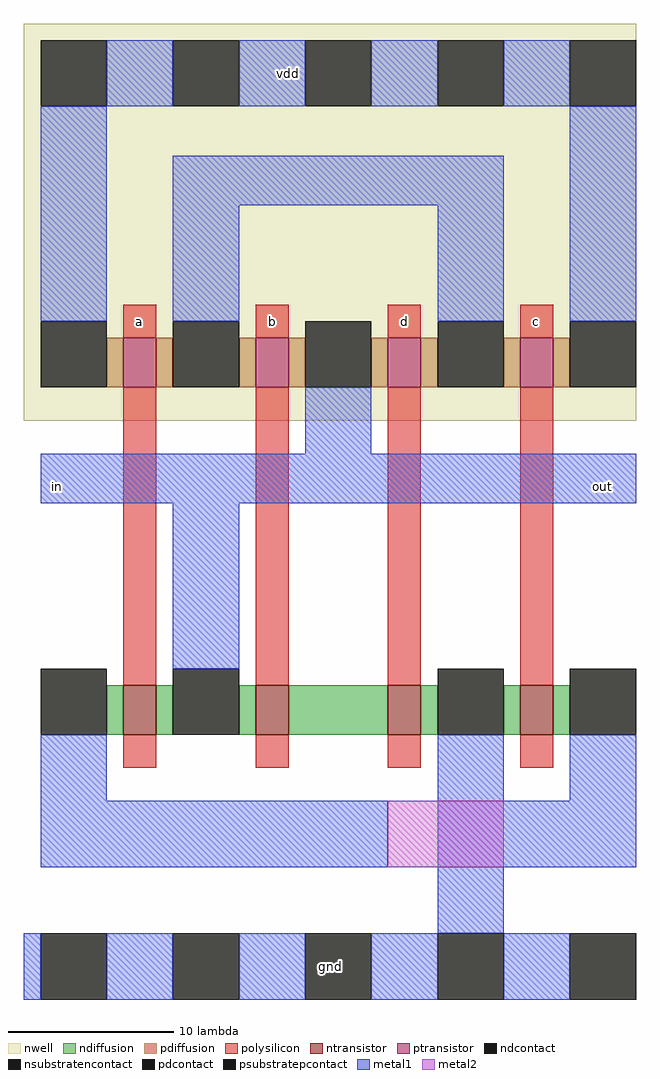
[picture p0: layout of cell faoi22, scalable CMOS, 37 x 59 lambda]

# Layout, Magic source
magic
tech scmos
<< nwell >>
rect -74 3 -37 27
<< polysilicon >>
rect -68 8 -66 10
rect -60 8 -58 10
rect -52 8 -50 10
rect -44 8 -42 10
rect -68 -13 -66 5
rect -60 -13 -58 5
rect -52 -13 -50 5
rect -44 -13 -42 5
rect -68 -18 -66 -16
rect -60 -18 -58 -16
rect -52 -18 -50 -16
rect -44 -18 -42 -16
<< ndiffusion >>
rect -69 -16 -68 -13
rect -66 -16 -65 -13
rect -61 -16 -60 -13
rect -58 -16 -52 -13
rect -50 -16 -49 -13
rect -45 -16 -44 -13
rect -42 -16 -41 -13
<< pdiffusion >>
rect -69 5 -68 8
rect -66 5 -65 8
rect -61 5 -60 8
rect -58 5 -57 8
rect -53 5 -52 8
rect -50 5 -49 8
rect -45 5 -44 8
rect -42 5 -41 8
<< metal1 >>
rect -69 22 -65 26
rect -61 22 -57 26
rect -53 22 -49 26
rect -45 22 -41 26
rect -73 9 -69 22
rect -65 16 -45 19
rect -65 9 -61 16
rect -49 9 -45 16
rect -41 9 -37 22
rect -57 1 -53 5
rect -73 -2 -37 1
rect -65 -12 -61 -2
rect -73 -20 -69 -16
rect -49 -20 -45 -16
rect -41 -20 -37 -16
rect -73 -24 -52 -20
rect -49 -24 -37 -20
rect -49 -28 -45 -24
rect -74 -32 -73 -28
rect -69 -32 -65 -28
rect -61 -32 -57 -28
rect -53 -32 -49 -28
rect -45 -32 -41 -28
<< metal2 >>
rect -52 -24 -45 -20
<< ntransistor >>
rect -68 -16 -66 -13
rect -60 -16 -58 -13
rect -52 -16 -50 -13
rect -44 -16 -42 -13
<< ptransistor >>
rect -68 5 -66 8
rect -60 5 -58 8
rect -52 5 -50 8
rect -44 5 -42 8
<< ndcontact >>
rect -73 -16 -69 -12
rect -65 -16 -61 -12
rect -49 -16 -45 -12
rect -41 -16 -37 -12
<< pdcontact >>
rect -73 5 -69 9
rect -65 5 -61 9
rect -57 5 -53 9
rect -49 5 -45 9
rect -41 5 -37 9
<< psubstratepcontact >>
rect -73 -32 -69 -28
rect -65 -32 -61 -28
rect -57 -32 -53 -28
rect -49 -32 -45 -28
rect -41 -32 -37 -28
<< nsubstratencontact >>
rect -73 22 -69 26
rect -65 22 -61 26
rect -57 22 -53 26
rect -49 22 -45 26
rect -41 22 -37 26
<< labels >>
rlabel metal1 -40 -1 -38 -1 7 out
rlabel metal1 -73 -1 -71 -1 3 in
rlabel metal1 -59 24 -57 24 5 vdd
rlabel polysilicon -68 8 -66 10 1 a
rlabel polysilicon -60 8 -58 10 1 b
rlabel polysilicon -52 8 -50 10 1 d
rlabel polysilicon -44 8 -42 10 1 c
rlabel metal1 -74 -32 -37 -28 5 gnd
<< end >>
